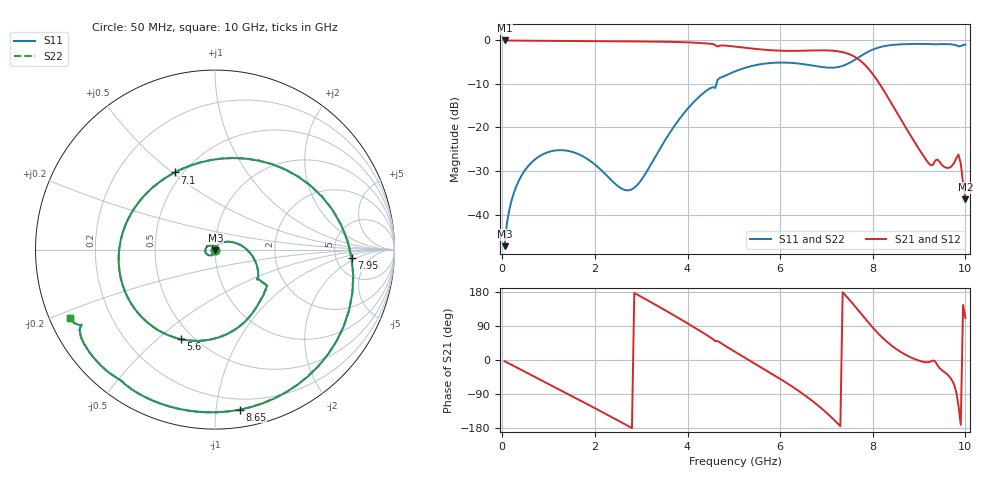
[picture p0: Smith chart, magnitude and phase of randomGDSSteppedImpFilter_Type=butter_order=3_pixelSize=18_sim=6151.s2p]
! freq	dB(S11)	phase(S11)	dB(S12)	phase(S12)
!  dB(S21)	phase(S21)	dB(S22)	phase(S22)
!S-par simulation data
#  GHz  S  DB  R 50
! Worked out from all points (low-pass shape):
!   200 points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, 50 MHz to 10 GHz, reference 50 ohm
!   highest |S21| = -0.03 dB at 50 MHz (marker M1); lowest = -36.5 dB at 10 GHz (marker M2)
!   |S21| within 3 dB of the highest: start of sweep to 7.453 GHz
!   lowest |S11| = -47.3 dB at 50 MHz (marker M3), VSWR 1.01, Z = 50.2 - j0.365 ohm
!   |S11| at or under -10 dB: start of sweep to 4.625 GHz
!   |S22| runs from -47.3 to -0.8 dB; largest |S21 - S12| = 0
!   S11 on the Smith chart (normalised r, x): 50 MHz: 1.00, -0.01; 5.6 GHz: 0.43, -0.60; 7.1 GHz: 0.45, +0.51; 7.95 GHz: 7.05, -1.64; 8.65 GHz: 0.12, -1.16; 10 GHz: 0.06, -0.22
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0.05  -47.26 -57.0  -0.03 -3.2  -0.03 -3.2  -47.26 -57.0
0.2  -36.77 -87.3  -0.05 -12.7  -0.05 -12.7  -36.77 -87.2
0.55  -28.99 -119.3  -0.09 -34.8  -0.09 -34.8  -28.99 -119.2
1.15  -25.28 -161.3  -0.13 -72.7  -0.13 -72.7  -25.28 -161.0
1.75  -26.69 158.7  -0.17 -111.0  -0.17 -111.0  -26.68 159.2
2.7  -34.45 89.2  -0.23 -173.0  -0.23 -173.0  -34.48 90.9
3.4  -24.97 44.2  -0.31 139.4  -0.31 139.4  -24.98 44.5
3.8  -18.41 18.0  -0.39 111.2  -0.39 111.2  -18.42 18.0
4.2  -13.46 -10.0  -0.57 82.0  -0.57 82.0  -13.46 -10.2
4.6  -10.92 -34.2  -1.12 49.9  -1.12 49.9  -10.92 -34.3
5.05  -7.03 -71.0  -1.47 19.8  -1.47 19.8  -7.03 -71.1
5.6  -5.45 -110.8  -2.10 -20.3  -2.10 -20.3  -5.45 -110.9
6.2  -5.15 -155.8  -2.42 -65.3  -2.42 -65.3  -5.15 -155.8
6.7  -5.79 160.7  -2.33 -108.5  -2.33 -108.5  -5.79 160.8
7.1  -6.29 117.6  -2.35 -150.4  -2.35 -150.4  -6.29 117.8
7.55  -4.86 56.5  -3.45 151.2  -3.45 151.2  -4.86 56.7
7.95  -2.35 -3.7  -7.07 92.4  -7.07 92.4  -2.35 -3.5
8.35  -1.15 -53.6  -13.50 43.5  -13.50 43.5  -1.15 -53.6
8.65  -0.89 -81.2  -18.91 17.8  -18.91 17.8  -0.89 -81.3
9.25  -0.86 -121.2  -28.67 -4.2  -28.67 -4.2  -0.86 -121.3
9.85  -1.38 -150.7  -26.22 -119.4  -26.22 -119.4  -1.36 -150.7
10  -0.97 -154.7  -36.48 111.0  -36.48 111.0  -0.97 -154.9
